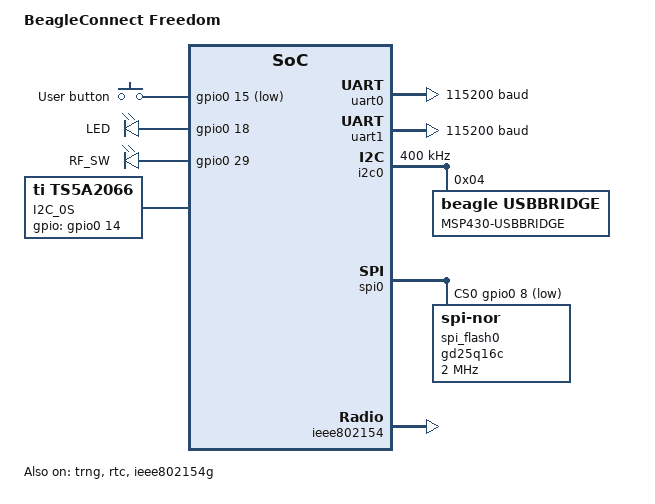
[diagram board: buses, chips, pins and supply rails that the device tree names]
/*
 * Copyright (c) 2020 Erik Larson
 * Copyright (c) 2020-2022 Jason Kridner, BeagleBoard.org Foundation
 *
 * SPDX-License-Identifier: Apache-2.0
 */

/dts-v1/;

#include <ti/cc1352r7.dtsi>
#include "beagleconnect_freedom-pinctrl.dtsi"

#define BTN_GPIO_FLAGS (GPIO_ACTIVE_LOW | GPIO_PULL_UP)

/ {
	model = "BeagleConnect Freedom";
	compatible = "beagle,beagleconnect-freedom";

	aliases {
		led0 = &led0;
		sw0 = &button0;
		sensor0 = &light;
		sensor1 = &humidity;
		spi-flash0 = &spi_flash0;
	};

	chosen {
		zephyr,sram = &sram0;
		zephyr,console = &uart0;
		zephyr,shell-uart = &uart0;
		zephyr,flash = &flash0;
		zephyr,ieee802154 = &ieee802154;
	};

	gpio_keys {
		compatible = "gpio-keys";
		button0: button_0 {
			label = "User button";
			gpios = <&gpio0 15 GPIO_ACTIVE_LOW>;
		};
	};

	leds: leds {
		compatible = "gpio-leds";
		led0: led_0 {
			gpios = <&gpio0 18 GPIO_ACTIVE_HIGH>; // 2.4GHz TX/RX
			label = "LED";
		};

		/* U.FL connector switch */
		rf_sw: rf_sw {
			label = "RF_SW";
			gpios =
				<&gpio0 29 GPIO_ACTIVE_HIGH>, // SubG TX +20dB
				<&gpio0 30 GPIO_ACTIVE_HIGH>; // SubG TX/RX 0dB
		};
	};

	sens_i2c: sensor-switch {
		status = "okay";
        	compatible = "ti,ts5a2066";
        	#address-cells = <1>;
        	#size-cells = <0>;
        	controller = <&i2c0>;
        	gpios = <&gpio0 14 GPIO_ACTIVE_HIGH>;
        	label = "I2C_0S";

		light: opt3001-light@44 {
			status = "okay";
			compatible = "ti,opt3001";
			reg = <0x44>;
			label = "OPT3001-LIGHT";
		};

		humidity: hdc2010-humidity@41 {
			status = "okay";
			compatible = "ti,hdc2010";
			reg = <0x41>;
			label = "HDC2010-HUMIDITY";
		};
	};

	power-states {
		idle: idle {
			compatible = "zephyr,power-state";
			power-state-name = "suspend-to-idle";
			min-residency-us = <1000>;
		};

		standby: standby {
			compatible = "zephyr,power-state";
			power-state-name = "standby";
			min-residency-us = <5000>;
			exit-latency-us = <240>;
		};
	};
};

&cpu0 {
	clock-frequency = <48000000>;
	cpu-power-states = <&idle &standby>;
};

&trng {
	status = "okay";
};

&gpio0 {
	status = "okay";
};

/* Side away from battery connector (with MSP430) */
&uart0 {
	status = "okay";
	current-speed = <115200>;
	pinctrl-0 = <&uart0_rx_default &uart0_tx_default>;
	pinctrl-names = "default";
};

/* Side with battery connector (with CC1352 and not MSP430) */
&uart1 {
	status = "okay";
	current-speed = <115200>;
	pinctrl-0 = <&uart1_rx_default &uart1_tx_default>;
	pinctrl-names = "default";
};

&i2c0 {
	status = "okay";
	clock-frequency = <I2C_BITRATE_FAST>;
	pinctrl-0 = <&i2c0_scl_default &i2c0_sda_default>;
	pinctrl-1 = <&i2c0_scl_sleep &i2c0_sda_sleep>;
	pinctrl-names = "default", "sleep";

	mcu: msp430-usbbridge@4 {
       		compatible = "beagle,usbbridge";
       		reg = <0x4>;
       		label = "MSP430-USBBRIDGE";
    	};
};

&spi0 {
	status = "okay";
	pinctrl-0 = <&spi0_sck_default &spi0_mosi_default
		&spi0_miso_default &spi0_cs0_default
		&spi0_cs1_default &spi0_cs2_default>;
	pinctrl-names = "default";
    	cs-gpios = <&gpio0 8 GPIO_ACTIVE_LOW>, // SPI flash
       		<&gpio0 28 GPIO_ACTIVE_LOW>,  // mikroBUS port 1
       		<&gpio0 27 GPIO_ACTIVE_LOW>;  // mikroBUS port 2

    	spi_flash0: gd25q16c@0 {
       		compatible = "jedec,spi-nor";
       		reg = <0>;
       		spi-max-frequency = <2000000>;
       		size = <0x200000>;
       		//has-be32k;
       		has-dpd;
       		t-enter-dpd = <20000>;
       		t-exit-dpd = <100000>;
       		jedec-id = [c8 40 15];

/*
		partitions {
			compatible = "fixed-partitions";
			#address-cells = <1>;
			#size-cells = <1>;
			
			boot_partition: partition@0 {
				label = "mcuboot";
				reg = <0x00000000 0x00010000>;
				read-only;
			};
		};
*/
    	};
};

&rtc {
	status = "okay";
};

&ieee802154 {
	status = "okay";
};

&ieee802154g {
	status = "okay";
};
